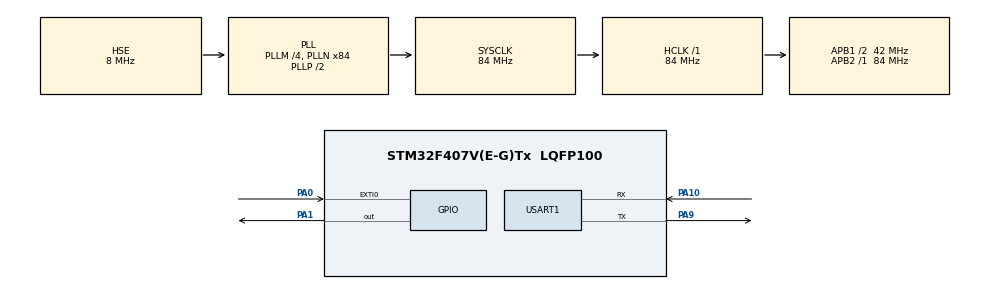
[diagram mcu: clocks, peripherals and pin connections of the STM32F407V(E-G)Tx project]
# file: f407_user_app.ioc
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Mcu.Family=STM32F4
Mcu.Name=STM32F407V(E-G)Tx
Mcu.Package=LQFP100
NVIC.EXTI0_IRQn=true\:0\:0\:false\:false\:true\:true\:true
NVIC.PriorityGroup=NVIC_PRIORITYGROUP_4
PA0-WKUP.GPIO_PuPd=GPIO_PULLDOWN
PA0-WKUP.Signal=GPXTI0
PA1.PinState=GPIO_PIN_SET
PA1.Signal=GPIO_Output
PA10.Mode=Asynchronous
PA10.Signal=USART1_RX
PA13.Mode=Serial_Wire
PA13.Signal=SYS_JTMS-SWDIO
PA14.Mode=Serial_Wire
PA14.Signal=SYS_JTCK-SWCLK
PA9.Mode=Asynchronous
PA9.Signal=USART1_TX
PH0-OSC_IN.Mode=HSE-External-Oscillator
PH0-OSC_IN.Signal=RCC_OSC_IN
PH1-OSC_OUT.Mode=HSE-External-Oscillator
PH1-OSC_OUT.Signal=RCC_OSC_OUT
ProjectManager.HeapSize=0x200
ProjectManager.StackSize=0x400
ProjectManager.TargetToolchain=STM32CubeIDE
RCC.48MHZClocksFreq_Value=42000000
RCC.AHBFreq_Value=84000000
RCC.APB1CLKDivider=RCC_HCLK_DIV2
RCC.APB1Freq_Value=42000000
RCC.APB1TimFreq_Value=84000000
RCC.APB2Freq_Value=84000000
RCC.APB2TimFreq_Value=84000000
RCC.CortexFreq_Value=84000000
RCC.HCLKFreq_Value=84000000
RCC.HSE_VALUE=8000000
RCC.HSI_VALUE=16000000
RCC.LSE_VALUE=32768
RCC.PLLM=4
RCC.PLLN=84
RCC.PLLSourceVirtual=RCC_PLLSOURCE_HSE
RCC.SYSCLKFreq_VALUE=84000000
RCC.SYSCLKSource=RCC_SYSCLKSOURCE_PLLCLK
RCC.VCOOutputFreq_Value=168000000
USART1.VirtualMode=VM_ASYNC
board=custom

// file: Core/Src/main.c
/* USER CODE BEGIN Header */
// Demonstrating  user application project suitable for bootloader + application
// Flash Sector 0 and 1 allocated to bootloader (starting at 0x8000000, total 32kBytes)
// User application is loaded at start of Flash Sector 2 (0x08008000)
//
// 1. In this project,
// a. Edit  STM32F407VGTX_FLASH.ld, and change FLASH ORIGIN to 0x8008000
// and reduce LENGTH by 32K to 992K
//
// MEMORY
// {
//   CCMRAM    (xrw)    : ORIGIN = 0x10000000,   LENGTH = 64K
//   RAM    (xrw)    : ORIGIN = 0x20000000,   LENGTH = 128K
//   FLASH    (rx)    : ORIGIN = 0x8008000,   LENGTH = 992K
// }
//
// b. Edit  system_stm32f4xx.c, set the vector table offset to 0x8000
//
// #define VECT_TAB_OFFSET  0x8000
//
// 3. Use STM32CubeProgrammer with STLink to erase all of flash
// 4. Use STM32CubeIDE to flash this project
// 5. Verify with STM32CubeProgrammer that addresses below 0x8008000 are still erased
// 6. Use STM32CubeIDE to flash bootloader project
//
/* USER CODE END Header */

#include "main.h"

UART_HandleTypeDef huart1;

void SystemClock_Config(void);
static void MX_GPIO_Init(void);
static void MX_USART1_UART_Init(void);

/* USER CODE BEGIN 0 */
void printMsg(char* format, ...) {
	char sz[100];
	va_list args;
	va_start(args, format);
	vsprintf(sz, format, args);
	HAL_UART_Transmit(&huart1, (uint8_t *)sz, strlen(sz), HAL_MAX_DELAY);
	va_end(args);
	}
/* USER CODE END 0 */

int main(void)
{

  /* MCU Configuration--------------------------------------------------------*/

  /* Reset of all peripherals, Initializes the Flash interface and the Systick. */
  HAL_Init();

  /* Configure the system clock */
  SystemClock_Config();

  /* Initialize all configured peripherals */
  MX_GPIO_Init();
  MX_USART1_UART_Init();

  /* Infinite loop */
  while (1)
  {

    /* USER CODE BEGIN 3 */
	  HAL_GPIO_TogglePin(GPIOA, GPIO_PIN_1);
	  HAL_Delay(1000);
  }
  /* USER CODE END 3 */
}

void SystemClock_Config(void)
{
  RCC_OscInitTypeDef RCC_OscInitStruct = {0};
  RCC_ClkInitTypeDef RCC_ClkInitStruct = {0};

  /** Configure the main internal regulator output voltage
  */
  __HAL_RCC_PWR_CLK_ENABLE();
  __HAL_PWR_VOLTAGESCALING_CONFIG(PWR_REGULATOR_VOLTAGE_SCALE1);
  /** Initializes the CPU, AHB and APB busses clocks
  */
  RCC_OscInitStruct.OscillatorType = RCC_OSCILLATORTYPE_HSE;
  RCC_OscInitStruct.HSEState = RCC_HSE_ON;
  RCC_OscInitStruct.PLL.PLLState = RCC_PLL_ON;
  RCC_OscInitStruct.PLL.PLLSource = RCC_PLLSOURCE_HSE;
  RCC_OscInitStruct.PLL.PLLM = 4;
  RCC_OscInitStruct.PLL.PLLN = 84;
  RCC_OscInitStruct.PLL.PLLP = RCC_PLLP_DIV2;
  RCC_OscInitStruct.PLL.PLLQ = 4;
  if (HAL_RCC_OscConfig(&RCC_OscInitStruct) != HAL_OK)
  {
    Error_Handler();
  }
  /** Initializes the CPU, AHB and APB busses clocks
  */
  RCC_ClkInitStruct.ClockType = RCC_CLOCKTYPE_HCLK|RCC_CLOCKTYPE_SYSCLK
                              |RCC_CLOCKTYPE_PCLK1|RCC_CLOCKTYPE_PCLK2;
  RCC_ClkInitStruct.SYSCLKSource = RCC_SYSCLKSOURCE_PLLCLK;
  RCC_ClkInitStruct.AHBCLKDivider = RCC_SYSCLK_DIV1;
  RCC_ClkInitStruct.APB1CLKDivider = RCC_HCLK_DIV2;
  RCC_ClkInitStruct.APB2CLKDivider = RCC_HCLK_DIV1;

  if (HAL_RCC_ClockConfig(&RCC_ClkInitStruct, FLASH_LATENCY_2) != HAL_OK)
  {
    Error_Handler();
  }
}

static void MX_USART1_UART_Init(void)
{

  huart1.Instance = USART1;
  huart1.Init.BaudRate = 115200;
  huart1.Init.WordLength = UART_WORDLENGTH_8B;
  huart1.Init.StopBits = UART_STOPBITS_1;
  huart1.Init.Parity = UART_PARITY_NONE;
  huart1.Init.Mode = UART_MODE_TX_RX;
  huart1.Init.HwFlowCtl = UART_HWCONTROL_NONE;
  huart1.Init.OverSampling = UART_OVERSAMPLING_16;
  if (HAL_UART_Init(&huart1) != HAL_OK)
  {
    Error_Handler();
  }

}

static void MX_GPIO_Init(void)
{
  GPIO_InitTypeDef GPIO_InitStruct = {0};

  /* GPIO Ports Clock Enable */
  __HAL_RCC_GPIOH_CLK_ENABLE();
  __HAL_RCC_GPIOA_CLK_ENABLE();

  /*Configure GPIO pin Output Level */
  HAL_GPIO_WritePin(GPIOA, GPIO_PIN_1, GPIO_PIN_SET);

  /*Configure GPIO pin : PA0 */
  GPIO_InitStruct.Pin = GPIO_PIN_0;
  GPIO_InitStruct.Mode = GPIO_MODE_IT_RISING;
  GPIO_InitStruct.Pull = GPIO_PULLDOWN;
  HAL_GPIO_Init(GPIOA, &GPIO_InitStruct);

  /*Configure GPIO pin : PA1 */
  GPIO_InitStruct.Pin = GPIO_PIN_1;
  GPIO_InitStruct.Mode = GPIO_MODE_OUTPUT_PP;
  GPIO_InitStruct.Pull = GPIO_NOPULL;
  GPIO_InitStruct.Speed = GPIO_SPEED_FREQ_LOW;
  HAL_GPIO_Init(GPIOA, &GPIO_InitStruct);

  /* EXTI interrupt init*/
  HAL_NVIC_SetPriority(EXTI0_IRQn, 0, 0);
  HAL_NVIC_EnableIRQ(EXTI0_IRQn);

}

/* USER CODE BEGIN 4 */
char msgToSend[] = "User application : EXTI0 pin interrupt handler\r\n";

void HAL_GPIO_EXTI_Callback(uint16_t gpioPin) {
	if (HAL_OK != HAL_UART_Transmit(&huart1, (uint8_t*)msgToSend, strlen(msgToSend), HAL_MAX_DELAY)) {
		Error_Handler();
		}
	}

/* USER CODE END 4 */

void Error_Handler(void)
{
  /* USER CODE BEGIN Error_Handler_Debug */
  /* User can add his own implementation to report the HAL error return state */
	int counter = 0;
	while (1) {
		HAL_GPIO_TogglePin(GPIOA, GPIO_PIN_1);
		while (counter < 0x3FFFF) {counter++;}
		counter = 0;
		}
  /* USER CODE END Error_Handler_Debug */
}

/************************ (C) COPYRIGHT STMicroelectronics *****END OF FILE****/
